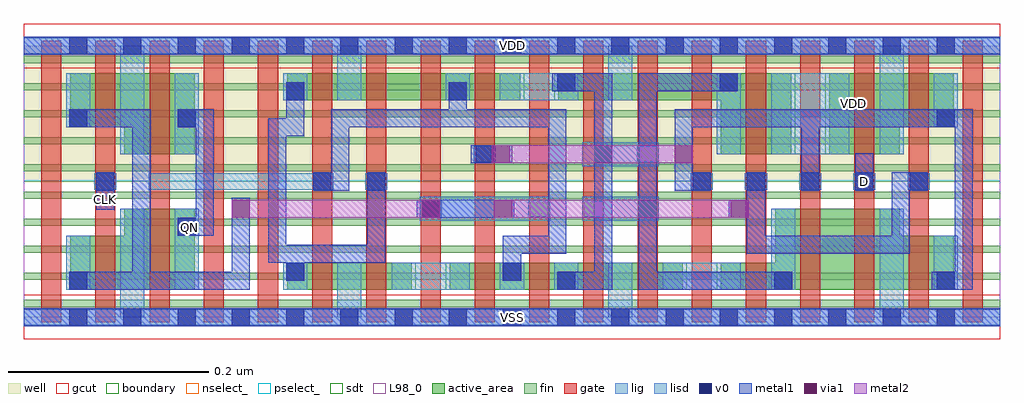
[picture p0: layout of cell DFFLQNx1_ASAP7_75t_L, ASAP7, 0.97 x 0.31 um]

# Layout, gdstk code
import gdstk
lib = gdstk.Library(unit=1e-6, precision=2.5e-10)
def R(c, l, rs):  # rectangles x0, y0, x1, y1
    for r in rs: c.add(gdstk.rectangle(r[:2], r[2:], *l))
def A(c, l, x, y, w, h, nx, ny, dx, dy):  # array of equal rectangles
    R(c, l, [(x+i*dx, y+j*dy, x+i*dx+w, y+j*dy+h) for i in range(nx) for j in range(ny)])
def P(c, l, *ps):  # polygons
    for p in ps: c.add(gdstk.Polygon(p, *l))
well = (1, 0)
fin = (2, 0)
gate = (7, 0)
gcut = (10, 0)
active_area = (11, 0)
nselect_ = (12, 0)
pselect_ = (13, 0)
lig = (16, 0)
lisd = (17, 0)
v0 = (18, 0)
metal1 = (19, 0)
metal2 = (20, 0)
via1 = (21, 0)
sdt = (88, 0)
L98_0 = (98, 0)
boundary = (100, 0)

dfflqnx1_asap7_75t_l = lib.new_cell('DFFLQNx1_ASAP7_75t_L')
R(dfflqnx1_asap7_75t_l, well, [(0,0.135,0.972,0.27)])
A(dfflqnx1_asap7_75t_l, fin, 0, 0.01, 0.972, 0.007, 1, 10, 0, 0.027)
A(dfflqnx1_asap7_75t_l, gate, 0.017, -0.005, 0.02, 0.28, 18, 1, 0.054, 0)
R(dfflqnx1_asap7_75t_l, gcut, [(0,-0.022,0.972,0.022), (0,0.248,0.972,0.292)])
R(dfflqnx1_asap7_75t_l, active_area, [(0.262,0.027,0.386,0.054), (0.424,0.027,0.656,0.054), (0.262,0.216,0.494,0.243)])
P(dfflqnx1_asap7_75t_l, active_area, [(0.694,0.027),(0.694,0.054),(0.748,0.054),(0.748,0.108),(0.872,0.108),(0.872,0.081),(0.926,0.081),(0.926,0.027)],
  [(0.046,0.027),(0.046,0.081),(0.1,0.081),(0.1,0.108),(0.17,0.108),(0.17,0.027)],
  [(0.802,0.162),(0.802,0.243),(0.926,0.243),(0.926,0.189),(0.872,0.189),(0.872,0.162)],
  [(0.694,0.162),(0.694,0.216),(0.532,0.216),(0.532,0.243),(0.764,0.243),(0.764,0.162)],
  [(0.1,0.162),(0.1,0.189),(0.046,0.189),(0.046,0.243),(0.17,0.243),(0.17,0.162)])
R(dfflqnx1_asap7_75t_l, nselect_, [(0,0,0.972,0.135)])
R(dfflqnx1_asap7_75t_l, pselect_, [(0,0.135,0.972,0.27)])
A(dfflqnx1_asap7_75t_l, lig, 0.664, 0.127, 0.022, 0.016, 5, 1, 0.054, 0)
R(dfflqnx1_asap7_75t_l, lig, [(0,-0.008,0.972,0.008), (0.394,0.1,0.416,0.116), (0.502,0.1,0.524,0.116), (0.556,0.1,0.578,0.116), (0.07,0.127,0.092,0.143), (0.124,0.127,0.308,0.143), (0.34,0.127,0.362,0.143), (0.448,0.154,0.47,0.17), (0.61,0.154,0.632,0.17), (0,0.262,0.972,0.278)])
R(dfflqnx1_asap7_75t_l, lisd, [(0.096,0,0.12,0.108), (0.312,0,0.336,0.054), (0.582,0,0.606,0.054), (0.852,0,0.876,0.108), (0.042,0.027,0.066,0.081), (0.15,0.027,0.174,0.108), (0.258,0.027,0.282,0.054), (0.366,0.027,0.444,0.054), (0.474,0.027,0.498,0.054), (0.528,0.027,0.552,0.054), (0.636,0.027,0.714,0.054), (0.744,0.027,0.768,0.108), (0.906,0.027,0.93,0.081), (0.394,0.096,0.524,0.12), (0.556,0.096,0.632,0.12), (0.556,0.15,0.632,0.174), (0.096,0.162,0.12,0.27), (0.15,0.162,0.174,0.243), (0.69,0.162,0.714,0.243), (0.744,0.162,0.822,0.243), (0.852,0.162,0.876,0.27), (0.042,0.189,0.066,0.243), (0.906,0.189,0.93,0.243), (0.258,0.216,0.282,0.243), (0.312,0.216,0.336,0.27), (0.42,0.216,0.444,0.243), (0.474,0.216,0.552,0.243), (0.582,0.216,0.606,0.27)])
A(dfflqnx1_asap7_75t_l, v0, 0.045, -0.009, 0.018, 0.018, 17, 2, 0.054, 0.27)
A(dfflqnx1_asap7_75t_l, v0, 0.666, 0.126, 0.018, 0.018, 5, 1, 0.054, 0)
R(dfflqnx1_asap7_75t_l, v0, [(0.045,0.027,0.063,0.045), (0.531,0.027,0.549,0.045), (0.747,0.027,0.765,0.045), (0.909,0.027,0.927,0.045), (0.261,0.036,0.279,0.054), (0.477,0.036,0.495,0.054), (0.153,0.081,0.171,0.099), (0.396,0.099,0.414,0.117), (0.612,0.099,0.63,0.117), (0.072,0.126,0.09,0.144), (0.288,0.126,0.306,0.144), (0.342,0.126,0.36,0.144), (0.45,0.153,0.468,0.171), (0.568,0.153,0.586,0.171), (0.045,0.189,0.063,0.207), (0.153,0.189,0.171,0.207), (0.909,0.189,0.927,0.207), (0.261,0.216,0.279,0.234), (0.423,0.216,0.441,0.234), (0.531,0.225,0.549,0.243), (0.693,0.225,0.711,0.243)])
R(dfflqnx1_asap7_75t_l, metal1, [(0,-0.009,0.972,0.009), (0.391,0.099,0.488,0.117), (0.072,0.107,0.09,0.144), (0.828,0.126,0.846,0.163), (0.445,0.153,0.486,0.171), (0,0.261,0.972,0.279)])
P(dfflqnx1_asap7_75t_l, metal1, [(0.612,0.027),(0.612,0.243),(0.711,0.243),(0.711,0.225),(0.63,0.225),(0.63,0.045),(0.765,0.045),(0.765,0.027)],
  [(0.531,0.027),(0.531,0.045),(0.568,0.045),(0.568,0.225),(0.526,0.225),(0.526,0.243),(0.586,0.243),(0.586,0.027)],
  [(0.153,0.081),(0.153,0.099),(0.171,0.099),(0.171,0.189),(0.153,0.189),(0.153,0.207),(0.189,0.207),(0.189,0.081)],
  [(0.904,0.027),(0.904,0.045),(0.927,0.045),(0.927,0.189),(0.792,0.189),(0.792,0.126),(0.774,0.126),(0.774,0.189),(0.666,0.189),(0.666,0.144),(0.684,0.144),(0.684,0.126),(0.648,0.126),(0.648,0.207),(0.945,0.207),(0.945,0.027)],
  [(0.477,0.036),(0.477,0.081),(0.522,0.081),(0.522,0.189),(0.324,0.189),(0.324,0.126),(0.288,0.126),(0.288,0.144),(0.306,0.144),(0.306,0.207),(0.423,0.207),(0.423,0.234),(0.441,0.234),(0.441,0.207),(0.54,0.207),(0.54,0.063),(0.495,0.063),(0.495,0.036)],
  [(0.261,0.036),(0.261,0.054),(0.243,0.054),(0.243,0.198),(0.261,0.198),(0.261,0.234),(0.279,0.234),(0.279,0.18),(0.261,0.18),(0.261,0.072),(0.342,0.072),(0.342,0.144),(0.36,0.144),(0.36,0.054),(0.279,0.054),(0.279,0.036)],
  [(0.72,0.063),(0.72,0.099),(0.702,0.099),(0.702,0.117),(0.72,0.117),(0.72,0.144),(0.738,0.144),(0.738,0.081),(0.864,0.081),(0.864,0.144),(0.9,0.144),(0.9,0.126),(0.882,0.126),(0.882,0.063)],
  [(0.045,0.027),(0.045,0.045),(0.108,0.045),(0.108,0.189),(0.045,0.189),(0.045,0.207),(0.126,0.207),(0.126,0.045),(0.207,0.045),(0.207,0.119),(0.225,0.119),(0.225,0.027)])
R(dfflqnx1_asap7_75t_l, metal2, [(0.207,0.099,0.414,0.117), (0.468,0.099,0.722,0.117), (0.466,0.153,0.666,0.171)])
R(dfflqnx1_asap7_75t_l, via1, [(0.207,0.099,0.225,0.117), (0.396,0.099,0.414,0.117), (0.468,0.099,0.486,0.117), (0.704,0.099,0.722,0.117), (0.466,0.153,0.484,0.171), (0.648,0.153,0.666,0.171)])
A(dfflqnx1_asap7_75t_l, sdt, 0.258, 0.027, 0.024, 0.027, 9, 1, 0.054, 0)
A(dfflqnx1_asap7_75t_l, sdt, 0.69, 0.162, 0.024, 0.081, 4, 1, 0.054, 0)
A(dfflqnx1_asap7_75t_l, sdt, 0.42, 0.216, 0.024, 0.027, 4, 1, 0.054, 0)
R(dfflqnx1_asap7_75t_l, sdt, [(0.042,0.027,0.066,0.081), (0.096,0.027,0.12,0.108), (0.15,0.027,0.174,0.108), (0.744,0.027,0.768,0.108), (0.852,0.027,0.876,0.108), (0.906,0.027,0.93,0.081), (0.096,0.162,0.12,0.243), (0.15,0.162,0.174,0.243), (0.042,0.189,0.066,0.243), (0.906,0.189,0.93,0.243), (0.258,0.216,0.282,0.243), (0.312,0.216,0.336,0.243)])
R(dfflqnx1_asap7_75t_l, L98_0, [(0,0,0.972,0.27)])
R(dfflqnx1_asap7_75t_l, boundary, [(0,0,0.972,0.27)])
dfflqnx1_asap7_75t_l.add(gdstk.Label('CLK', (0.081,0.117), layer=19, texttype=251))
dfflqnx1_asap7_75t_l.add(gdstk.Label('QN', (0.165,0.089), layer=19, texttype=251))
dfflqnx1_asap7_75t_l.add(gdstk.Label('D', (0.837,0.135), layer=19, texttype=251))
dfflqnx1_asap7_75t_l.add(gdstk.Label('VSS', (0.486,0), layer=19, texttype=251))
dfflqnx1_asap7_75t_l.add(gdstk.Label('VDD', (0.486,0.27), layer=19, texttype=251))
dfflqnx1_asap7_75t_l.add(gdstk.Label('VDD', (0.826,0.213), layer=1, texttype=251))
dfflqnx1_asap7_75t_l.add(gdstk.Label('VSS', (1.118,0.213), layer=3, texttype=251))

lib.write_gds('DFFLQNx1_ASAP7_75t_L.gds')
